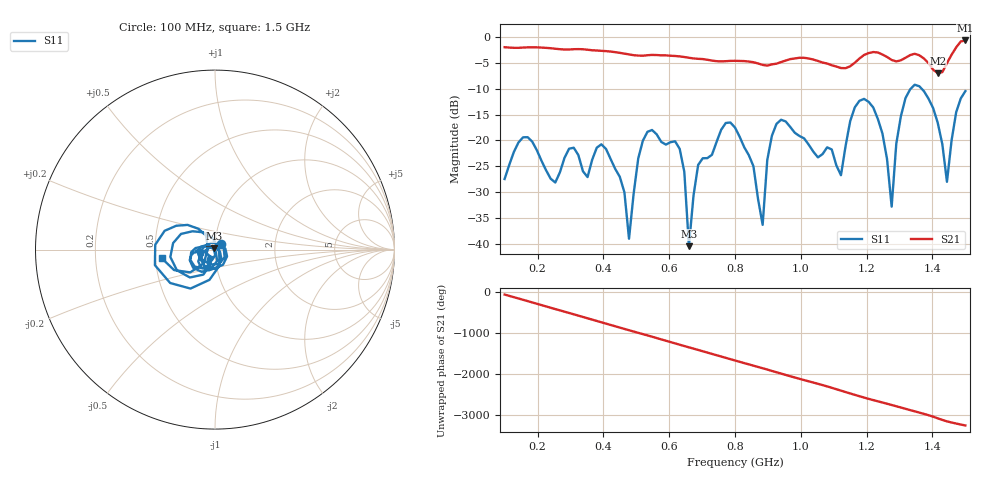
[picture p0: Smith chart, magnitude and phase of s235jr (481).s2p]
! NanoVNA-App
! Date: 2025-09-25 15:07:54
! Start: 100MHz Stop: 1,5GHz Points: 101
! S-Parameter data: F S11 S21 S12 S22
# Hz S RI R 50
!  Frequency  S11_Real  S11_Imag  S21_Real  S21_Imag  S12_Real  S12_Imag  S22_Real  S22_Imag
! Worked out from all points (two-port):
!   101 points, 100 MHz to 1.5 GHz, reference 50 ohm
!   highest |S21| = -0.66 dB at 1.5 GHz (marker M1); lowest = -7.0 dB at 1.416 GHz (marker M2)
!   |S21| within 3 dB of the highest: start of sweep to 616.4 MHz; 1.188 GHz to 1.256 GHz (68.07 MHz wide, 5.57 % of centre) (the widest 2 of 4)
!   lowest |S11| = -40.5 dB at 660 MHz (marker M3), VSWR 1.02, Z = 49.3 + j0.608 ohm
!   |S11| at or under -10 dB: start of sweep to 1.334 GHz; 1.367 GHz to end of sweep
!   S12 and S22 are empty: the file has one direction only
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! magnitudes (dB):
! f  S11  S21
! 100 MHz  -27.5  -2.0
! 156 MHz  -19.4  -2.0
! 338 MHz  -26.0  -2.4
! 408 MHz  -21.6  -2.7
! 478 MHz  -39.0  -3.4
! 520 MHz  -20.1  -3.6
! 576 MHz  -20.3  -3.5
! 632 MHz  -21.6  -3.7
! 660 MHz  -40.5  -4.0
! 688 MHz  -24.7  -4.2
! 800 MHz  -17.5  -4.6
! 884 MHz  -36.3  -5.4
! 926 MHz  -16.8  -5.1
! 1.038 GHz  -22.2  -4.4
! 1.122 GHz  -26.7  -6.0
! 1.206 GHz  -12.5  -3.1
! 1.276 GHz  -32.8  -4.4
! 1.29 GHz  -20.7  -4.7
! 1.332 GHz  -10.1  -3.5
! 1.416 GHz  -16.6  -7.0
! 1.444 GHz  -28.0  -5.0
! 1.5 GHz  -10.5  -0.7
